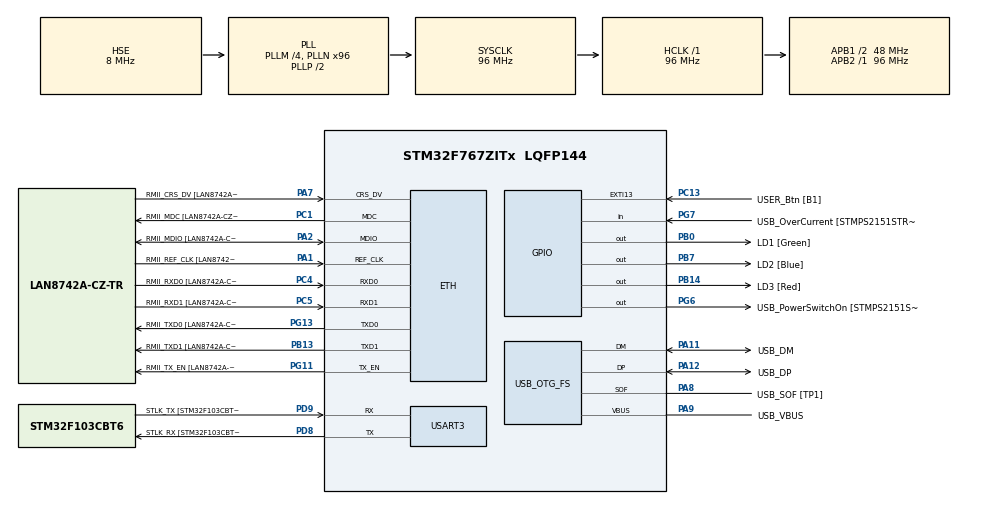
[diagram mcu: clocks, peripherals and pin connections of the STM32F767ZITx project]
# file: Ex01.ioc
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ETH.MediaInterface=HAL_ETH_RMII_MODE
ETH.PHY_Name=LAN8742A_PHY_ADDRESS
ETH.PHY_Value=0
ETH.PhyAddress=0
FREERTOS.CountingSemaphores01=myCountingSem,2,Dynamic,NULL,2
FREERTOS.Tasks01=Task01,24,128,StartTask01,Default,NULL,Dynamic,NULL,NULL;Task02,24,128,StartTask02,Default,NULL,Dynamic,NULL,NULL;Task03,24,128,StartTask03,Default,NULL,Dynamic,NULL,NULL
Mcu.Family=STM32F7
Mcu.Name=STM32F767ZITx
Mcu.Package=LQFP144
NVIC.PriorityGroup=NVIC_PRIORITYGROUP_4
NVIC.TIM1_UP_TIM10_IRQn=true\:15\:0\:false\:false\:true\:false\:false\:true\:true
NVIC.TimeBase=TIM1_UP_TIM10_IRQn
NVIC.TimeBaseIP=TIM1
PA1.GPIO_Label=RMII_REF_CLK [LAN8742A-CZ-TR_REFCLK0]
PA1.Mode=RMII
PA1.Signal=ETH_REF_CLK
PA10.GPIO_Label=USB_ID
PA10.Signal=USB_OTG_FS_ID
PA11.GPIO_Label=USB_DM
PA11.Mode=Device_Only
PA11.Signal=USB_OTG_FS_DM
PA12.GPIO_Label=USB_DP
PA12.Mode=Device_Only
PA12.Signal=USB_OTG_FS_DP
PA13.GPIO_Label=TMS
PA13.Mode=Serial_Wire
PA13.Signal=SYS_JTMS-SWDIO
PA14.GPIO_Label=TCK
PA14.Mode=Serial_Wire
PA14.Signal=SYS_JTCK-SWCLK
PA2.GPIO_Label=RMII_MDIO [LAN8742A-CZ-TR_MDIO]
PA2.Mode=RMII
PA2.Signal=ETH_MDIO
PA7.GPIO_Label=RMII_CRS_DV [LAN8742A-CZ-TR_CRS_DV]
PA7.Mode=RMII
PA7.Signal=ETH_CRS_DV
PA8.GPIO_Label=USB_SOF [TP1]
PA8.Mode=Activate_SOF_FS
PA8.Signal=USB_OTG_FS_SOF
PA9.GPIO_Label=USB_VBUS
PA9.Mode=Activate_VBUS
PA9.Signal=USB_OTG_FS_VBUS
PB0.GPIO_Label=LD1 [Green]
PB0.Signal=GPIO_Output
PB13.GPIO_Label=RMII_TXD1 [LAN8742A-CZ-TR_TXD1]
PB13.Mode=RMII
PB13.Signal=ETH_TXD1
PB14.GPIO_Label=LD3 [Red]
PB14.Signal=GPIO_Output
PB3.GPIO_Label=SWO
PB3.Signal=SYS_JTDO-SWO
PB7.GPIO_Label=LD2 [Blue]
PB7.Signal=GPIO_Output
PC1.GPIO_Label=RMII_MDC [LAN8742A-CZ-TR_MDC]
PC1.Mode=RMII
PC1.Signal=ETH_MDC
PC13.GPIO_Label=USER_Btn [B1]
PC13.Signal=GPXTI13
PC14/OSC32_IN.Mode=LSE-External-Oscillator
PC14/OSC32_IN.Signal=RCC_OSC32_IN
PC15/OSC32_OUT.Mode=LSE-External-Oscillator
PC15/OSC32_OUT.Signal=RCC_OSC32_OUT
PC4.GPIO_Label=RMII_RXD0 [LAN8742A-CZ-TR_RXD0]
PC4.Mode=RMII
PC4.Signal=ETH_RXD0
PC5.GPIO_Label=RMII_RXD1 [LAN8742A-CZ-TR_RXD1]
PC5.Mode=RMII
PC5.Signal=ETH_RXD1
PD8.GPIO_Label=STLK_RX [STM32F103CBT6_PA3]
PD8.Mode=Asynchronous
PD8.Signal=USART3_TX
PD9.GPIO_Label=STLK_TX [STM32F103CBT6_PA2]
PD9.Mode=Asynchronous
PD9.Signal=USART3_RX
PG11.GPIO_Label=RMII_TX_EN [LAN8742A-CZ-TR_TXEN]
PG11.Mode=RMII
PG11.Signal=ETH_TX_EN
PG13.GPIO_Label=RMII_TXD0 [LAN8742A-CZ-TR_TXD0]
PG13.Mode=RMII
PG13.Signal=ETH_TXD0
PG6.GPIO_Label=USB_PowerSwitchOn [STMPS2151STR_EN]
PG6.Signal=GPIO_Output
PG7.GPIO_Label=USB_OverCurrent [STMPS2151STR_FAULT]
PG7.Signal=GPIO_Input
PH0/OSC_IN.GPIO_Label=MCO [STM32F103CBT6_PA8]
PH0/OSC_IN.Mode=HSE-External-Clock-Source
PH0/OSC_IN.Signal=RCC_OSC_IN
PH1/OSC_OUT.Mode=HSE-External-Clock-Source
PH1/OSC_OUT.Signal=RCC_OSC_OUT
ProjectManager.HeapSize=0x200
ProjectManager.StackSize=0x400
ProjectManager.TargetToolchain=STM32CubeIDE
RCC.48MHZClocksFreq_Value=24000000
RCC.AHBFreq_Value=96000000
RCC.APB1CLKDivider=RCC_HCLK_DIV2
RCC.APB1Freq_Value=48000000
RCC.APB1TimFreq_Value=96000000
RCC.APB2Freq_Value=96000000
RCC.APB2TimFreq_Value=96000000
RCC.CortexFreq_Value=96000000
RCC.HCLKFreq_Value=96000000
RCC.HSE_VALUE=8000000
RCC.HSI_VALUE=16000000
RCC.PLLM=4
RCC.PLLMUL=RCC_PLL_MUL9
RCC.PLLN=96
RCC.PLLQ=4
RCC.PRESCALERUSB=RCC_USBCLKSOURCE_PLL_DIV1_5
RCC.SYSCLKFreq_VALUE=96000000
RCC.SYSCLKSource=RCC_SYSCLKSOURCE_PLLCLK
RCC.SYSCLKSourceVirtual=RCC_SYSCLKSOURCE_PLLCLK
RCC.USBFreq_Value=48000000
RCC.VCOOutputFreq_Value=192000000
USART3.VirtualMode-Asynchronous=VM_ASYNC
USB_OTG_FS.VirtualMode=Device_Only
VP_FREERTOS_VS_CMSIS_V2.Mode=CMSIS_V2
VP_SYS_VS_tim1.Mode=TIM1
board=NUCLEO-F767ZI

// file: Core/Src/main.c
/* USER CODE BEGIN Header */
/**
  ******************************************************************************
  * @file           : main.c
  * @brief          : Main program body
  ******************************************************************************
  * @attention
  *
  * Copyright (c) 2025 STMicroelectronics.
  * All rights reserved.
  *
  * This software is licensed under terms that can be found in the LICENSE file
  * in the root directory of this software component.
  * If no LICENSE file comes with this software, it is provided AS-IS.
  *
  ******************************************************************************
  */
/* USER CODE END Header */
#include "main.h"
#include "string.h"
#include "cmsis_os.h"

#if defined ( __ICCARM__ ) /*!< IAR Compiler */
#pragma location=0x2007c000
ETH_DMADescTypeDef  DMARxDscrTab[ETH_RX_DESC_CNT]; /* Ethernet Rx DMA Descriptors */
#pragma location=0x2007c0a0
ETH_DMADescTypeDef  DMATxDscrTab[ETH_TX_DESC_CNT]; /* Ethernet Tx DMA Descriptors */

#elif defined ( __CC_ARM )  /* MDK ARM Compiler */

__attribute__((at(0x2007c000))) ETH_DMADescTypeDef  DMARxDscrTab[ETH_RX_DESC_CNT]; /* Ethernet Rx DMA Descriptors */
__attribute__((at(0x2007c0a0))) ETH_DMADescTypeDef  DMATxDscrTab[ETH_TX_DESC_CNT]; /* Ethernet Tx DMA Descriptors */

#elif defined ( __GNUC__ ) /* GNU Compiler */

ETH_DMADescTypeDef DMARxDscrTab[ETH_RX_DESC_CNT] __attribute__((section(".RxDecripSection"))); /* Ethernet Rx DMA Descriptors */
ETH_DMADescTypeDef DMATxDscrTab[ETH_TX_DESC_CNT] __attribute__((section(".TxDecripSection")));   /* Ethernet Tx DMA Descriptors */
#endif

ETH_TxPacketConfig TxConfig;

ETH_HandleTypeDef heth;

UART_HandleTypeDef huart3;

PCD_HandleTypeDef hpcd_USB_OTG_FS;

/* Definitions for Task01 */
osThreadId_t Task01Handle;
const osThreadAttr_t Task01_attributes = {
  .name = "Task01",
  .stack_size = 128 * 4,
  .priority = (osPriority_t) osPriorityNormal,
};
/* Definitions for Task02 */
osThreadId_t Task02Handle;
const osThreadAttr_t Task02_attributes = {
  .name = "Task02",
  .stack_size = 128 * 4,
  .priority = (osPriority_t) osPriorityNormal,
};
/* Definitions for Task03 */
osThreadId_t Task03Handle;
const osThreadAttr_t Task03_attributes = {
  .name = "Task03",
  .stack_size = 128 * 4,
  .priority = (osPriority_t) osPriorityNormal,
};
/* Definitions for myCountingSem */
osSemaphoreId_t myCountingSemHandle;
const osSemaphoreAttr_t myCountingSem_attributes = {
  .name = "myCountingSem"
};
/* USER CODE BEGIN PV */
char uartMsg;
/* USER CODE END PV */

void SystemClock_Config(void);
static void MX_GPIO_Init(void);
static void MX_ETH_Init(void);
static void MX_USART3_UART_Init(void);
static void MX_USB_OTG_FS_PCD_Init(void);
void StartTask01(void *argument);
void StartTask02(void *argument);
void StartTask03(void *argument);

int main(void)
{

  /* MCU Configuration--------------------------------------------------------*/

  /* Reset of all peripherals, Initializes the Flash interface and the Systick. */
  HAL_Init();

  /* Configure the system clock */
  SystemClock_Config();

  /* Initialize all configured peripherals */
  MX_GPIO_Init();
  MX_ETH_Init();
  MX_USART3_UART_Init();
  MX_USB_OTG_FS_PCD_Init();

  /* Init scheduler */
  osKernelInitialize();

  /* Create the semaphores(s) */
  /* creation of myCountingSem */
  myCountingSemHandle = osSemaphoreNew(2, 2, &myCountingSem_attributes);

  /* Create the thread(s) */
  /* creation of Task01 */
  Task01Handle = osThreadNew(StartTask01, NULL, &Task01_attributes);

  /* creation of Task02 */
  Task02Handle = osThreadNew(StartTask02, NULL, &Task02_attributes);

  /* creation of Task03 */
  Task03Handle = osThreadNew(StartTask03, NULL, &Task03_attributes);

  /* Start scheduler */
  osKernelStart();

  /* We should never get here as control is now taken by the scheduler */

  /* Infinite loop */
  while (1)
  {

  }
}

void SystemClock_Config(void)
{
  RCC_OscInitTypeDef RCC_OscInitStruct = {0};
  RCC_ClkInitTypeDef RCC_ClkInitStruct = {0};

  /** Configure LSE Drive Capability
  */
  HAL_PWR_EnableBkUpAccess();

  /** Configure the main internal regulator output voltage
  */
  __HAL_RCC_PWR_CLK_ENABLE();
  __HAL_PWR_VOLTAGESCALING_CONFIG(PWR_REGULATOR_VOLTAGE_SCALE3);

  /** Initializes the RCC Oscillators according to the specified parameters
  * in the RCC_OscInitTypeDef structure.
  */
  RCC_OscInitStruct.OscillatorType = RCC_OSCILLATORTYPE_HSE;
  RCC_OscInitStruct.HSEState = RCC_HSE_BYPASS;
  RCC_OscInitStruct.PLL.PLLState = RCC_PLL_ON;
  RCC_OscInitStruct.PLL.PLLSource = RCC_PLLSOURCE_HSE;
  RCC_OscInitStruct.PLL.PLLM = 4;
  RCC_OscInitStruct.PLL.PLLN = 96;
  RCC_OscInitStruct.PLL.PLLP = RCC_PLLP_DIV2;
  RCC_OscInitStruct.PLL.PLLQ = 4;
  RCC_OscInitStruct.PLL.PLLR = 2;
  if (HAL_RCC_OscConfig(&RCC_OscInitStruct) != HAL_OK)
  {
    Error_Handler();
  }

  /** Activate the Over-Drive mode
  */
  if (HAL_PWREx_EnableOverDrive() != HAL_OK)
  {
    Error_Handler();
  }

  /** Initializes the CPU, AHB and APB buses clocks
  */
  RCC_ClkInitStruct.ClockType = RCC_CLOCKTYPE_HCLK|RCC_CLOCKTYPE_SYSCLK
                              |RCC_CLOCKTYPE_PCLK1|RCC_CLOCKTYPE_PCLK2;
  RCC_ClkInitStruct.SYSCLKSource = RCC_SYSCLKSOURCE_PLLCLK;
  RCC_ClkInitStruct.AHBCLKDivider = RCC_SYSCLK_DIV1;
  RCC_ClkInitStruct.APB1CLKDivider = RCC_HCLK_DIV2;
  RCC_ClkInitStruct.APB2CLKDivider = RCC_HCLK_DIV1;

  if (HAL_RCC_ClockConfig(&RCC_ClkInitStruct, FLASH_LATENCY_3) != HAL_OK)
  {
    Error_Handler();
  }
}

static void MX_ETH_Init(void)
{

   static uint8_t MACAddr[6];

  heth.Instance = ETH;
  MACAddr[0] = 0x00;
  MACAddr[1] = 0x80;
  MACAddr[2] = 0xE1;
  MACAddr[3] = 0x00;
  MACAddr[4] = 0x00;
  MACAddr[5] = 0x00;
  heth.Init.MACAddr = &MACAddr[0];
  heth.Init.MediaInterface = HAL_ETH_RMII_MODE;
  heth.Init.TxDesc = DMATxDscrTab;
  heth.Init.RxDesc = DMARxDscrTab;
  heth.Init.RxBuffLen = 1524;

  if (HAL_ETH_Init(&heth) != HAL_OK)
  {
    Error_Handler();
  }

  memset(&TxConfig, 0 , sizeof(ETH_TxPacketConfig));
  TxConfig.Attributes = ETH_TX_PACKETS_FEATURES_CSUM | ETH_TX_PACKETS_FEATURES_CRCPAD;
  TxConfig.ChecksumCtrl = ETH_CHECKSUM_IPHDR_PAYLOAD_INSERT_PHDR_CALC;
  TxConfig.CRCPadCtrl = ETH_CRC_PAD_INSERT;

}

static void MX_USART3_UART_Init(void)
{

  huart3.Instance = USART3;
  huart3.Init.BaudRate = 115200;
  huart3.Init.WordLength = UART_WORDLENGTH_8B;
  huart3.Init.StopBits = UART_STOPBITS_1;
  huart3.Init.Parity = UART_PARITY_NONE;
  huart3.Init.Mode = UART_MODE_TX_RX;
  huart3.Init.HwFlowCtl = UART_HWCONTROL_NONE;
  huart3.Init.OverSampling = UART_OVERSAMPLING_16;
  huart3.Init.OneBitSampling = UART_ONE_BIT_SAMPLE_DISABLE;
  huart3.AdvancedInit.AdvFeatureInit = UART_ADVFEATURE_NO_INIT;
  if (HAL_UART_Init(&huart3) != HAL_OK)
  {
    Error_Handler();
  }

}

static void MX_USB_OTG_FS_PCD_Init(void)
{

  hpcd_USB_OTG_FS.Instance = USB_OTG_FS;
  hpcd_USB_OTG_FS.Init.dev_endpoints = 6;
  hpcd_USB_OTG_FS.Init.speed = PCD_SPEED_FULL;
  hpcd_USB_OTG_FS.Init.dma_enable = DISABLE;
  hpcd_USB_OTG_FS.Init.phy_itface = PCD_PHY_EMBEDDED;
  hpcd_USB_OTG_FS.Init.Sof_enable = ENABLE;
  hpcd_USB_OTG_FS.Init.low_power_enable = DISABLE;
  hpcd_USB_OTG_FS.Init.lpm_enable = DISABLE;
  hpcd_USB_OTG_FS.Init.vbus_sensing_enable = ENABLE;
  hpcd_USB_OTG_FS.Init.use_dedicated_ep1 = DISABLE;
  if (HAL_PCD_Init(&hpcd_USB_OTG_FS) != HAL_OK)
  {
    Error_Handler();
  }

}

static void MX_GPIO_Init(void)
{
  GPIO_InitTypeDef GPIO_InitStruct = {0};

  /* GPIO Ports Clock Enable */
  __HAL_RCC_GPIOC_CLK_ENABLE();
  __HAL_RCC_GPIOH_CLK_ENABLE();
  __HAL_RCC_GPIOA_CLK_ENABLE();
  __HAL_RCC_GPIOB_CLK_ENABLE();
  __HAL_RCC_GPIOD_CLK_ENABLE();
  __HAL_RCC_GPIOG_CLK_ENABLE();

  /*Configure GPIO pin Output Level */
  HAL_GPIO_WritePin(GPIOB, LD1_Pin|LD3_Pin|LD2_Pin, GPIO_PIN_RESET);

  /*Configure GPIO pin Output Level */
  HAL_GPIO_WritePin(USB_PowerSwitchOn_GPIO_Port, USB_PowerSwitchOn_Pin, GPIO_PIN_RESET);

  /*Configure GPIO pin : USER_Btn_Pin */
  GPIO_InitStruct.Pin = USER_Btn_Pin;
  GPIO_InitStruct.Mode = GPIO_MODE_IT_RISING;
  GPIO_InitStruct.Pull = GPIO_NOPULL;
  HAL_GPIO_Init(USER_Btn_GPIO_Port, &GPIO_InitStruct);

  /*Configure GPIO pins : LD1_Pin LD3_Pin LD2_Pin */
  GPIO_InitStruct.Pin = LD1_Pin|LD3_Pin|LD2_Pin;
  GPIO_InitStruct.Mode = GPIO_MODE_OUTPUT_PP;
  GPIO_InitStruct.Pull = GPIO_NOPULL;
  GPIO_InitStruct.Speed = GPIO_SPEED_FREQ_LOW;
  HAL_GPIO_Init(GPIOB, &GPIO_InitStruct);

  /*Configure GPIO pin : USB_PowerSwitchOn_Pin */
  GPIO_InitStruct.Pin = USB_PowerSwitchOn_Pin;
  GPIO_InitStruct.Mode = GPIO_MODE_OUTPUT_PP;
  GPIO_InitStruct.Pull = GPIO_NOPULL;
  GPIO_InitStruct.Speed = GPIO_SPEED_FREQ_LOW;
  HAL_GPIO_Init(USB_PowerSwitchOn_GPIO_Port, &GPIO_InitStruct);

  /*Configure GPIO pin : USB_OverCurrent_Pin */
  GPIO_InitStruct.Pin = USB_OverCurrent_Pin;
  GPIO_InitStruct.Mode = GPIO_MODE_INPUT;
  GPIO_InitStruct.Pull = GPIO_NOPULL;
  HAL_GPIO_Init(USB_OverCurrent_GPIO_Port, &GPIO_InitStruct);

}

void StartTask01(void *argument)
{
  /* USER CODE BEGIN 5 */
  /* Infinite loop */
  for(;;)
  {
	    // Usa osSemaphoreGetCount() para depuração ANTES de tentar adquirir
	    char *msg1_part1 = "Tarefa 1: Tentando. Contagem: ";
	    HAL_UART_Transmit(&huart3, (uint8_t*)msg1_part1, strlen(msg1_part1), HAL_MAX_DELAY);

	    uint32_t count = osSemaphoreGetCount(myCountingSemHandle);
	    char count_char = count + '0'; // Converte o número (0, 1, ou 2) para o caractere ('0', '1', ou '2')
	    HAL_UART_Transmit(&huart3, (uint8_t*)&count_char, 1, HAL_MAX_DELAY);

	    char *newline = "\r\n";
	    HAL_UART_Transmit(&huart3, (uint8_t*)newline, strlen(newline), HAL_MAX_DELAY);

	    // --- Adquire o semáforo ---
	    osSemaphoreAcquire(myCountingSemHandle, osWaitForever);

	    // --- Mensagem de sucesso ---
	    char *msg2 = "--> Tarefa 1: ADQUIRIU o semaforo.\r\n";
	    HAL_UART_Transmit(&huart3, (uint8_t*)msg2, strlen(msg2), HAL_MAX_DELAY);

	    osDelay(2000); // Simula trabalho

	    // --- Libera o semáforo ---
	    osSemaphoreRelease(myCountingSemHandle);

	    // --- Mensagem de liberação ---
	    char *msg3 = "<-- Tarefa 1: LIBEROU o semaforo.\r\n\r\n";
	    HAL_UART_Transmit(&huart3, (uint8_t*)msg3, strlen(msg3), HAL_MAX_DELAY);

	    osDelay(500);
  }
  /* USER CODE END 5 */
}

void StartTask02(void *argument)
{
  /* USER CODE BEGIN StartTask02 */
  /* Infinite loop */
  for(;;)
  {
	    char *msg1_part1 = "Tarefa 2: Tentando. Contagem: ";
	    HAL_UART_Transmit(&huart3, (uint8_t*)msg1_part1, strlen(msg1_part1), HAL_MAX_DELAY);

	    uint32_t count = osSemaphoreGetCount(myCountingSemHandle);
	    char count_char = count + '0';
	    HAL_UART_Transmit(&huart3, (uint8_t*)&count_char, 1, HAL_MAX_DELAY);

	    char *newline = "\r\n";
	    HAL_UART_Transmit(&huart3, (uint8_t*)newline, strlen(newline), HAL_MAX_DELAY);

	    osSemaphoreAcquire(myCountingSemHandle, osWaitForever);

	    char *msg2 = "--> Tarefa 2: ADQUIRIU o semaforo.\r\n";
	    HAL_UART_Transmit(&huart3, (uint8_t*)msg2, strlen(msg2), HAL_MAX_DELAY);

	    osDelay(2000);

	    osSemaphoreRelease(myCountingSemHandle);

	    char *msg3 = "<-- Tarefa 2: LIBEROU o semaforo.\r\n\r\n";
	    HAL_UART_Transmit(&huart3, (uint8_t*)msg3, strlen(msg3), HAL_MAX_DELAY);

	    osDelay(500);
  }
  /* USER CODE END StartTask02 */
}

void StartTask03(void *argument)
{
  /* USER CODE BEGIN StartTask03 */
  /* Infinite loop */
  for(;;)
  {
	    char *msg1_part1 = "Tarefa 3: Tentando. Contagem: ";
	    HAL_UART_Transmit(&huart3, (uint8_t*)msg1_part1, strlen(msg1_part1), HAL_MAX_DELAY);

	    uint32_t count = osSemaphoreGetCount(myCountingSemHandle);
	    char count_char = count + '0';
	    HAL_UART_Transmit(&huart3, (uint8_t*)&count_char, 1, HAL_MAX_DELAY);

	    char *newline = "\r\n";
	    HAL_UART_Transmit(&huart3, (uint8_t*)newline, strlen(newline), HAL_MAX_DELAY);

	    osSemaphoreAcquire(myCountingSemHandle, osWaitForever);

	    char *msg2 = "--> Tarefa 3: ADQUIRIU o semaforo.\r\n";
	    HAL_UART_Transmit(&huart3, (uint8_t*)msg2, strlen(msg2), HAL_MAX_DELAY);

	    osDelay(2000);

	    osSemaphoreRelease(myCountingSemHandle);

	    char *msg3 = "<-- Tarefa 3: LIBEROU o semaforo.\r\n\r\n";
	    HAL_UART_Transmit(&huart3, (uint8_t*)msg3, strlen(msg3), HAL_MAX_DELAY);

	    osDelay(500);
  /* USER CODE END StartTask03 */
}
}
void HAL_TIM_PeriodElapsedCallback(TIM_HandleTypeDef *htim)
{
  if (htim->Instance == TIM1) {
    HAL_IncTick();
  }
}

void Error_Handler(void)
{
  __disable_irq();
  while (1)
  {
  }
}
